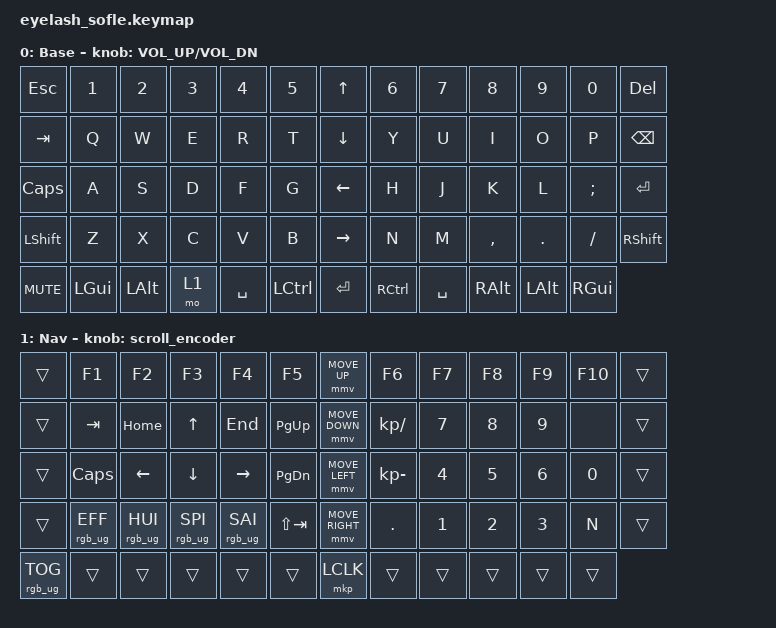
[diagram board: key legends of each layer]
#define ZMK_POINTING_DEFAULT_MOVE_VAL 1200  // 600
#define ZMK_POINTING_DEFAULT_SCRL_VAL 25   // 10

#include <input/processors.dtsi>
#include <zephyr/dt-bindings/input/input-event-codes.h>
#include <behaviors.dtsi>
#include <dt-bindings/zmk/keys.h>
#include <dt-bindings/zmk/pointing.h>
#include <dt-bindings/zmk/rgb.h>

&mmv_input_listener { input-processors = <&zip_xy_scaler 2 1>; };

&msc_input_listener { input-processors = <&zip_scroll_scaler 2 1>; };

&msc {
    acceleration-exponent = <1>;      // 0
    time-to-max-speed-ms = <100>;       // 300
    delay-ms = <0>;                   // 0
};

&mmv {
    time-to-max-speed-ms = <500>;
    acceleration-exponent = <1>;
    trigger-period-ms = <16>;
};

/ {
    scroll_encoder: scroll_encoder {
        compatible = "zmk,behavior-sensor-rotate";
        #sensor-binding-cells = <0>;
        bindings = <&msc SCRL_DOWN>, <&msc SCRL_UP>;

        tap-ms = <100>;
    };

    behaviors {
    };

    keymap {
        compatible = "zmk,keymap";

        layer_0 {
            bindings = <
&kp ESC     &kp N1    &kp N2    &kp N3  &kp N4     &kp N5       &kp UP_ARROW     &kp N6     &kp N7     &kp N8     &kp N9      &kp N0         &kp DELETE
&kp TAB     &kp Q     &kp W     &kp E   &kp R      &kp T        &kp DOWN_ARROW   &kp Y      &kp U      &kp I      &kp O       &kp P          &kp BACKSPACE
&kp CAPS    &kp A     &kp S     &kp D   &kp F      &kp G        &kp LEFT_ARROW   &kp H      &kp J      &kp K      &kp L       &kp SEMICOLON  &kp ENTER
&kp LSHFT   &kp Z     &kp X     &kp C   &kp V      &kp B        &kp RIGHT_ARROW  &kp N      &kp M      &kp COMMA  &kp PERIOD  &kp SLASH      &kp RSHIFT
&kp C_MUTE  &kp LGUI  &kp LALT  &mo 1   &kp SPACE  &kp LCTRL    &kp ENTER        &kp RCTRL  &kp SPACE  &kp RALT   &kp LALT    &kp RGUI
            >;

            sensor-bindings = <&inc_dec_kp C_VOLUME_UP C_VOL_DN>;
            display-name = "Base";
        };

        layer_1 {
            bindings = <
&trans           &kp F1           &kp F2           &kp F3           &kp F4           &kp F5           &mmv MOVE_UP     &kp F6        &kp F7        &kp F8        &kp F9        &kp F10  &trans
&trans           &kp TAB          &kp HOME         &kp UP_ARROW     &kp END          &kp PAGE_UP      &mmv MOVE_DOWN   &kp KP_SLASH  &kp N7        &kp N8        &kp N9        &none    &trans
&trans           &kp CAPS         &kp LEFT         &kp DOWN_ARROW   &kp RIGHT        &kp PAGE_DOWN    &mmv MOVE_LEFT   &kp KP_MINUS  &kp NUMBER_4  &kp N5        &kp NUMBER_6  &kp N0   &trans
&trans           &rgb_ug RGB_EFF  &rgb_ug RGB_HUI  &rgb_ug RGB_SPI  &rgb_ug RGB_SAI  &kp LS(TAB)      &mmv MOVE_RIGHT  &kp PERIOD    &kp NUMBER_1  &kp NUMBER_2  &kp NUMBER_3  &kp N    &trans
&rgb_ug RGB_TOG  &trans           &trans           &trans           &trans           &trans           &mkp LCLK        &trans        &trans        &trans        &trans        &trans
            >;

            display-name = "Nav";
            sensor-bindings = <&scroll_encoder>;
        };
    };
};
